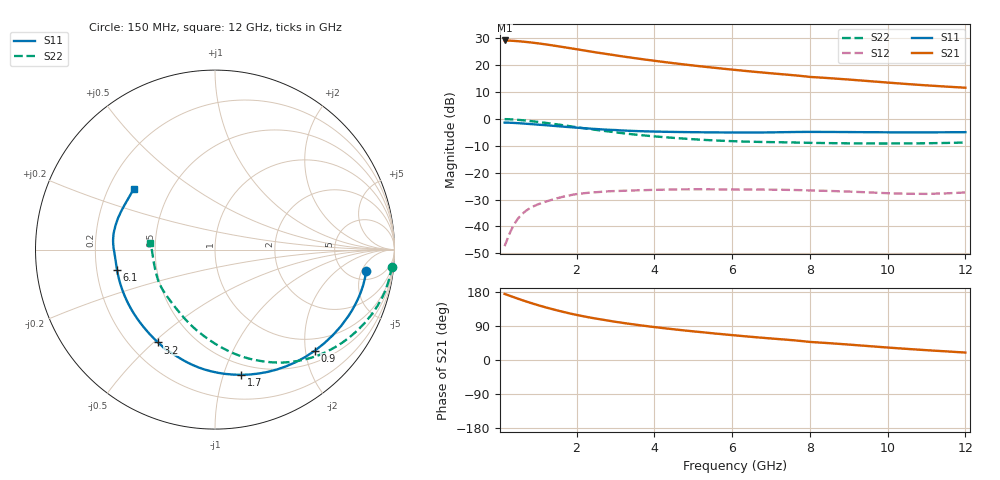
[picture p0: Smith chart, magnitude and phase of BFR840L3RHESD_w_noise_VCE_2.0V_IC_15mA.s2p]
! Infineon Technologies  Discrete & RF Semiconductors
! BFR840L3RHESD
! VCE =  2.0 V,  IC =  15 mA
! Common Emitter S-Parameters:  Jun 2012
# GHz  S  MA  R  50
!  f  S11  S21  S12  S22
! GHz  MAG  ANG  MAG  ANG  MAG  ANG  MAG  ANG
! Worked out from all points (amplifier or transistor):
!   91 points, 150 MHz to 12 GHz, reference 50 ohm
!   highest |S21| = 29.1 dB at 150 MHz (marker M1)
!   |S21| within 3 dB of that: start of sweep to 1.89 GHz
!   unconditionally stable (mu >= 1): 7.852 GHz to end of sweep
!   at 1.3 GHz: K = 0.16, MSG = 28.9 dB, |S12| = -30.4 dB
!   at 4.3 GHz: K = 0.50, MSG = 23.7 dB, |S12| = -26.3 dB
!   at 12 GHz: K = 1.91, MAG = 14.0 dB, |S12| = -27.4 dB
!   lowest NFmin = 0.91 dB at 450 MHz
!   S11 on the Smith chart (normalised r, x): 150 MHz: 7.04, -6.11; 900 MHz: 0.73, -2.19; 1.7 GHz: 0.40, -1.15; 3.2 GHz: 0.32, -0.52; 6.1 GHz: 0.29, -0.09; 12 GHz: 0.31, +0.31
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0.15  0.8508 -8.1  28.65 174.3  0.0043 81.0  0.9881 -5.5
0.35  0.8433 -18.7  28.24 167.0  0.0095 76.6  0.9758 -13.6
0.6  0.8212 -31.3  27.33 158.0  0.017 69.8  0.9435 -22.8
0.7  0.8113 -36.1  26.89 154.6  0.0196 67.4  0.9281 -26.3
0.9  0.7915 -45.4  25.9 148.1  0.0238 62.8  0.8953 -33.0
1.1  0.7718 -54.3  24.81 142.0  0.0272 58.4  0.861 -39.3
1.3  0.7519 -62.7  23.66 136.3  0.0303 54.3  0.8256 -45.4
1.5  0.7321 -70.6  22.49 130.9  0.0334 50.7  0.7893 -51.0
1.7  0.7128 -78.2  21.34 125.9  0.0363 47.4  0.7529 -56.3
2  0.6862 -88.8  19.69 119.0  0.0399 43.0  0.7 -63.7
2.2  0.6701 -95.2  18.64 114.9  0.0415 40.1  0.6673 -68.2
2.4  0.6547 -101.0  17.66 111.1  0.0428 37.4  0.6374 -72.5
2.7  0.6333 -109.0  16.34 105.9  0.0444 34.1  0.5977 -78.3
3.2  0.6069 -121.5  14.41 97.8  0.046 29.7  0.5395 -87.3
3.6  0.5911 -129.9  13.13 92.1  0.047 26.8  0.5027 -93.9
4.2  0.5764 -141.0  11.51 84.5  0.0482 23.9  0.4601 -103.0
5  0.5648 -153.9  9.814 75.6  0.049 20.8  0.418 -114.3
6.1  0.5574 -168.3  8.093 64.7  0.0486 17.7  0.3827 -128.6
8  0.5718 170.3  6.019 47.7  0.0467 13.9  0.3579 -153.6
8.5  0.5705 166.3  5.709 44.4  0.0457 13.4  0.3539 -158.0
10.5  0.5608 150.8  4.439 29.3  0.0405 19.7  0.3492 -176.2
12  0.5657 143.1  3.79 19.6  0.0428 29.4  0.3629 174.2
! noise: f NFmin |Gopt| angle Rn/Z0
0.45  0.91  0.14  10  0.14
0.9  0.94  0.14  16  0.14
1.9  0.97  0.16  37  0.14
3.5  0.96  0.17  60  0.13
4  0.97  0.19  68  0.13
5.5  0.99  0.22  83  0.13
7  1.04  0.22  105  0.12
8  1.1  0.23  116  0.12
10  1.19  0.22  135  0.11
12  1.3  0.23  170  0.11
